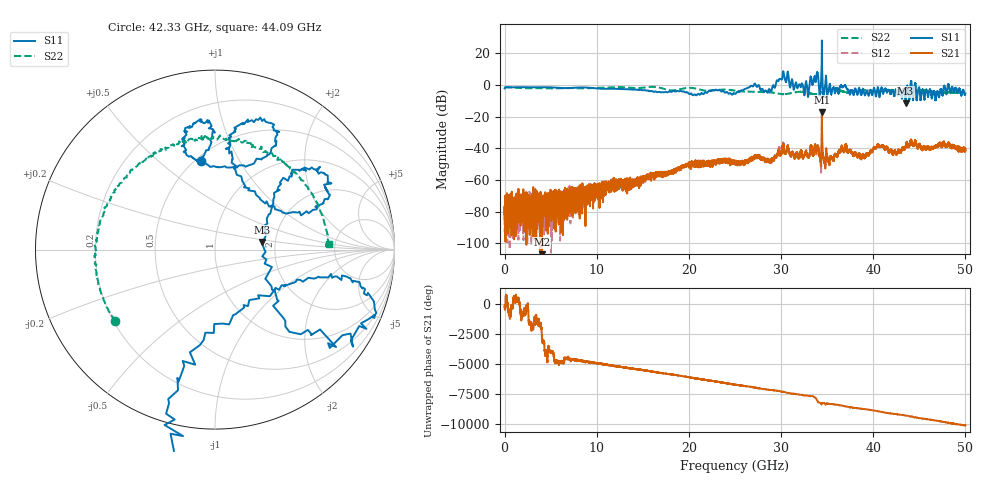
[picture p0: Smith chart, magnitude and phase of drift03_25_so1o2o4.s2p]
!Created with skrf (http://scikit-rf.org).
# Hz S RI R 50.0
!freq ReS11 ImS11 ReS21 ImS21 ReS12 ImS12 ReS22 ImS22
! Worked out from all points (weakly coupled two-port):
!   10000 points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, 5.3 MHz to 50 GHz, reference 50 ohm
!   highest |S21| = -17.26 dB at 34.43 GHz (marker M1); lowest = -110.4 dB at 4.045 GHz (marker M2)
!   lowest |S11| = -11.6 dB at 43.52 GHz (marker M3), VSWR 1.71, Z = 84.7 + j7.6 ohm
!   |S11| at or under -10 dB: 43.4933 GHz to 43.54338 GHz (50.08 MHz wide, 0.115 % of centre)
!   |S22| runs from -5.8 to -1.1 dB; largest |S21 - S12| = 0.036
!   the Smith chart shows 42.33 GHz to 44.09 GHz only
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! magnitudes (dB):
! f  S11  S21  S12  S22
! 5.3 MHz  -2.1  -81.7  -77.6  -1.3
! 4.045 GHz  -1.4  -110.4  -79.7  -2.0
! 8.34 GHz  -1.5  -68.0  -66.8  -2.1
! 16.67 GHz  -4.4  -57.2  -57.3  -1.5
! 20.29 GHz  -5.5  -48.9  -49.3  -1.8
! 25.01 GHz  -5.5  -49.1  -49.0  -3.5
! 27.02 GHz  -0.3  -45.8  -45.3  -4.2
! 28.72 GHz  -2.5  -48.3  -47.8  -4.5
! 30.14 GHz  4.5  -40.1  -40.4  -5.7
! 32.74 GHz  2.0  -42.4  -41.9  -4.6
! 33.34 GHz  2.6  -39.7  -40.2  -5.5
! 33.82 GHz  3.9  -42.1  -42.1  -5.7
! 34.43 GHz  28.2  -17.3  -19.2  -4.6
! 35.32 GHz  0.7  -47.1  -46.7  -3.4
! 36.84 GHz  -0.6  -42.2  -41.4  -4.2
! 38.84 GHz  -3.3  -44.7  -44.9  -3.2
! 40.6 GHz  -4.2  -37.9  -38.2  -4.1
! 41.67 GHz  -3.1  -42.1  -42.3  -3.3
! 43.52 GHz  -11.6  -38.5  -39.0  -4.2
! 46.94 GHz  -4.1  -38.7  -38.4  -4.8
! 48.32 GHz  -4.4  -39.1  -38.0  -4.5
! 50 GHz  -5.4  -40.8  -41.1  -4.6
